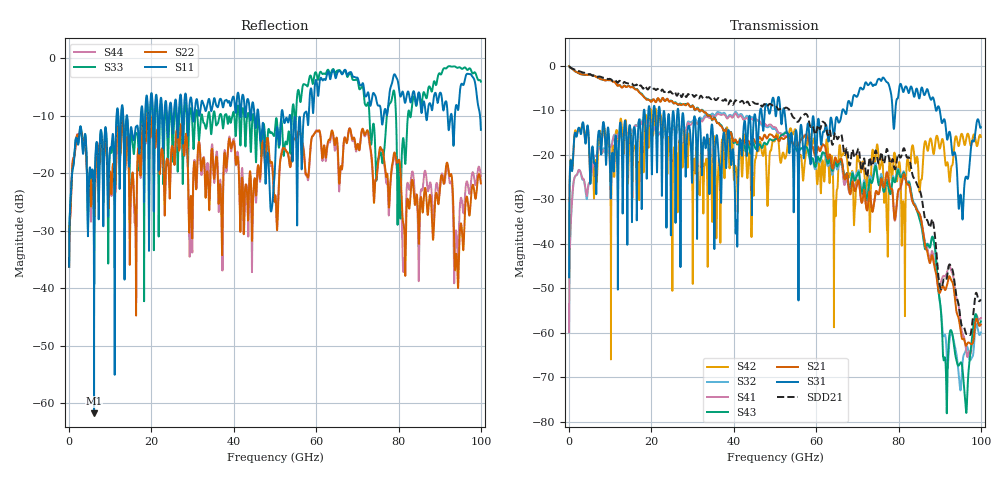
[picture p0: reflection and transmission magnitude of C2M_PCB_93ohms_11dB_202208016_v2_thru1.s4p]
! Info: Touchstone file created by Circ.  Input file=Intel_C2M_200G_2p0in_202208016_staggered.circ
# Hz S RI R 50
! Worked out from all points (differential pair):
!   10000 points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, 10 MHz to 100 GHz, reference 50 ohm
!   strongest paths, dB at 10 MHz, 25.01 GHz, 50.01 GHz, 75.01 GHz, 100 GHz:
!     S31: -47.5, -13.1, -10.1, -3.1, -13.8
!     S21: -0.1, -8.0, -16.0, -28.9, -58.1
!     S43: -0.1, -8.0, -16.5, -26.0, -57.4
!     S41: -59.9, -14.7, -13.8, -28.8, -56.7
!     S32: -59.9, -14.6, -14.2, -25.5, -59.9
!     S42: -47.5, -30.4, -16.8, -18.8, -16.0
!   taken as a pair (ports 1,3 in; 2,4 out), SDD21 dB: -0.1, -6.2, -9.1, -21.6, -52.5
!   lowest |S11| = -61.7 dB at 6.07 GHz (marker M1), VSWR 1.00, Z = 50 + j0.0778 ohm
!   |S11| at or under -10 dB: start of sweep to 11.54 GHz; 46.04 GHz to 51.53 GHz (5.486 GHz wide, 11.2 % of centre); 53.69 GHz to 57.03 GHz (3.337 GHz wide, 6.03 % of centre)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
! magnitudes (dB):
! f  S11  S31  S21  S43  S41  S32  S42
! 10 MHz  -36.3  -47.5  -0.1  -0.1  -59.9  -59.9  -47.5
! 6.07 GHz  -61.7  -21.9  -2.3  -2.3  -20.5  -20.5  -29.6
! 40.62 GHz  -8.5  -34.7  -16.9  -17.4  -10.9  -10.5  -23.3
! 71.41 GHz  -4.5  -5.3  -29.3  -27.5  -29.0  -26.9  -21.9
! 81.19 GHz  -6.2  -5.9  -24.5  -24.1  -24.7  -23.8  -30.7
! 91.43 GHz  -7.5  -13.5  -50.3  -66.9  -47.3  -61.0  -22.3
! 100 GHz  -12.5  -13.8  -58.1  -57.4  -56.7  -59.9  -16.0
